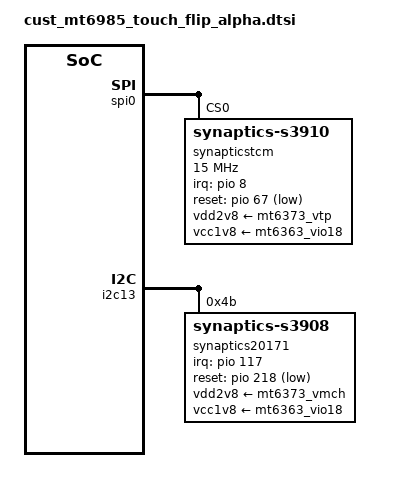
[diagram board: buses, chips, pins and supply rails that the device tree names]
// SPDX-License-Identifier: GPL-2.0
/*
 *Copyright (C) 2022 MediaTek Inc.
 */

&spi0{
	status = "okay";
	#address-cells = <1>;
	#size-cells = <0>;

	synapticstcm@0{
		compatible = "synaptics-s3910";
		reg = <0x0>;
		chip-name = "S3910";
		status = "okay";
		spi-max-frequency = <15000000>;
		/* Interrupt && Irq-gpio */
		interrupt-parent = <&pio>;
		interrupts = <8 0x2008>;

		/* Power Config */
		//enable2v8_gpio  = <&pio 164 0x1>;
		vdd2v8-supply  = <&mt6373_vtp>;
		vdd2v8-volt = <3000000>;
		vcc1v8-supply  = <&mt6363_vio18>;
		vcc1v8-volt = <1800000>;

		/* Other HW Resource */
		irq-gpio = <&pio 8 0x2008>;
		reset-gpio = <&pio 67 0x1>;

		pinctrl-names = "default",  "oplus_int_active",
		"oplus_reset_active", "oplus_int_suspend",
		"oplus_reset_suspend", "oplus_spi_active",
		"oplus_spi_suspend";
		pinctrl-0 = <&ctp_oplus_pins_default>;
		pinctrl-1 = <&ctp_oplus_int_active>;
		pinctrl-2 = <&ctp_oplus_reset_active>;
		pinctrl-3 = <&ctp_oplus_int_suspend>;
		pinctrl-4 = <&ctp_oplus_reset_suspend>;
		pinctrl-5 = <&ctp_oplus_spi_active>, <&ctp_oplus_spi_mosi_active>;
		pinctrl-6 = <&ctp_oplus_spi_suspend>;

		touchpanel,max-num-support = <10>;
		touchpanel,tx-rx-num = <17 40>;
		earsense,tx-rx-num = <17 18>;
		touchpanel,panel-coords = <10800 25200>;
		touchpanel,display-coords = <1080 2520>;
		touchpanel,touchmajor-limit = <128 216>;
		touchpanel,elimination-range = <20 200 200>;
		touchpanel,int-mode = <1>; /*0: interrupt and disable, 1:interrupt and not disable*/
		touchpanel,smooth-level = <0 1 2 5 8 9>;
		touchpanel,smooth-level-charging = <0 2 4 8 9 10>;
		touchpanel,sensitive-level = <0 70 55 40 25 10>;
		touchpanel,single-optimized-time = <8>;
		touchpanel,high-frame-rate-time = <60>;

		touchpanel,tp-index = <0>;
		vid-len = <2>;
		panel-type = <3 8>; /*type:3 BOE  type:8 SS*/
		platform-support-project = <22023 22223>;
		platform-support-project-dir = <22023 22023>;
		platform-support-project-commandline = "default_commandline","default_commandline";

		/* SW Support Feature Control */
		regulator-count-not-support;
		pressure-report-support;
		game-switch-support;
		enable-point-auto-change;
		fw-update-app-support;
		exception-upload-support;
		freq-hop-simulate-support;
		report-flow-unlock-support;
		kernel-grip-support;
		/*
		 *Virtual Key Config:
		 *1:touchpanel,button-type: <virtualkey_type  supportted_button-map>
		 *virtualkey_type:
		 *Type 1: using board_properties
		 *Type 2: using same IC (button zone&& touch zone are seprate)
		 *Type 3: using different IC (button zone&& touch zone are seprate)
		 *Type 4: No need of virtual key process
		 *supportted_button-map:select|menu|home|back
		 *
		 *2:touchpanel,button-map
		 *type (X1,Y1)(X2,Y2)(X3,Y3)(Width_X,Hight_Y)--Only when button-type is 0
		 */
		touchpanel,button-type = <4>;
		touchpanel,button-trx = <0 0>;

		S3910 {
			switch-report-rate;
			report-rate-default = <60>;
			report-rate-game-value = <0x03>;
			fps-report-rate = <60 2 90 3 120 3>;//1:360Hz 2:125Hz 3:240Hz
			fwupdate-bootloader = <1>;
			default-gesture-mask = <8191>;
			normal-config-version = <2>;
		};
	};

};

&i2c13 {
	status = "okay";
	synaptics20171@4b {
	status = "okay";
		compatible = "synaptics-s3908";
		reg = <0x4b>;
		chip-name = "S3908";

		/* Interrupt && Irq-gpio */
		interrupt-parent = <&pio>;
		interrupts = <117 0x2008>;

		/* Power Config */
		vdd2v8-supply  = <&mt6373_vmch>;
		vdd2v8-volt = <3000000>;
		vcc1v8-supply  = <&mt6363_vio18>;
		vcc1v8-volt = <1800000>;
		/* Other HW Resource */

		irq-gpio = <&pio 117 0x2008>;
		reset-gpio = <&pio 218 0x1>;
		pinctrl-names = "default";
		pinctrl-0 = <&ts_int_active2 &ts_reset_active2>;

		touchpanel,max-num-support = <10>;
		touchpanel,tx-rx-num = <9 17>;
		touchpanel,panel-coords = <382 720>;
		touchpanel,display-coords = <382 720>;
		touchpanel,touchmajor-limit = <0 54>;
		touchpanel,elimination-range = <20 200 200>;
		touchpanel,int-mode = <1>; /*0: interrupt and disable, 1:interrupt and not disable*/
		touchpanel,smooth-level = <0 1 2 3 8 10>;
		touchpanel,sensitive-level = <0 88 70 64 45 10>;

		touchpanel,tp-index = <1>;
		vid-len = <2>;
		panel-type = <3>; /*type:3 BOE*/

		platform-support-project = <22023 22223>;
		platform-support-project-dir = <22023 22023>;
		platform-support-project-commandline = "default_commandline","default_commandline";


		/* SW Support Feature Control */
		fw-update-app-support;
		game-switch-support;
		report-flow-unlock-support;
		kernel-grip-support;
		freq-hop-simulate-support;
		pressure-report-support;
		exception-upload-support;
		touchpanel,single-optimized-time = <8>;
		touchpanel,high-frame-rate-time = <60>;
		regulator-count-not-support;
		/*
		 *Virtual Key Config:
		 *1:touchpanel,button-type: <virtualkey_type  supportted_button-map>
		 *virtualkey_type:
		 *Type 1: using board_properties
		 *Type 2: using same IC (button zone&& touch zone are seprate)
		 *Type 3: using different IC (button zone&& touch zone are seprate)
		 *Type 4: No need of virtual key process
		 *supportted_button-map:select|menu|home|back
		 *
		 *2:touchpanel,button-map
		 *type (X1,Y1)(X2,Y2)(X3,Y3)(Width_X,Hight_Y)--Only when button-type is 0
		 */
		touchpanel,button-type = <4>;
		touchpanel,button-trx = <0 0>;

		S3908 {
			report-rate-default = <90>;
			report-rate-game-value = <2>;
		};
	};
};

&pio {
	ctp_oplus_pins_default: pins-default {
	};
	ctp_oplus_int_active: int1-active {
		pins-cmd-dat {
			pinmux = <PINMUX_GPIO8__FUNC_GPIO8>;
			bias-disable;
			input-enable;
		};
	};
	ctp_oplus_reset_active: reset1-active {
		pins-cmd-dat {
			pinmux = <PINMUX_GPIO67__FUNC_GPIO67>;
			output-high;
		};
	};
	ctp_oplus_int_suspend: int1-suspend {
		pins-cmd-dat {
			pinmux = <PINMUX_GPIO8__FUNC_GPIO8>;
			output-low;
		};
	};
	ctp_oplus_reset_suspend: reset1-suspend {
		pins-cmd-dat {
			pinmux = <PINMUX_GPIO67__FUNC_GPIO67>;
			output-low;
		};
	};
	ctp_oplus_spi_active: spi-active {
		pins-cmd-dat {
			pinmux = <PINMUX_GPIO151__FUNC_SPI0_CSB>,
				<PINMUX_GPIO152__FUNC_SPI0_MO>,
				<PINMUX_GPIO153__FUNC_SPI0_CLK>;
			bias-disable;
			drive-strength = <4>;
		};
	};
	ctp_oplus_spi_mosi_active: spi-mosi-active {
		pins-cmd-dat {
			pinmux = <PINMUX_GPIO150__FUNC_SPI0_MI>;
			bias-pull-up;
			drive-strength = <4>;
		};
	};
	ctp_oplus_spi_suspend: spi-suspend {
		pins-cmd-dat {
			pinmux = < PINMUX_GPIO150__FUNC_GPIO150>,
				< PINMUX_GPIO151__FUNC_GPIO151>,
				<PINMUX_GPIO152__FUNC_GPIO152>,
				< PINMUX_GPIO153__FUNC_GPIO153>;
			bias-disable;
			output-low;
			drive-strength = <4>;
		};
	};

	ts_int_active2: ts-int-active2 {
		pins-cmd-dat {
			pinmux = <PINMUX_GPIO117__FUNC_GPIO117>;
			bias-disable;
		};
	};
	ts_reset_active2: ts-reset-active2 {
		pins-cmd-dat {
			pinmux = <PINMUX_GPIO218__FUNC_GPIO218>;
			output-high;
		};
	};
	ctp_oplus_int_suspend2: int1-suspend2 {
		pins-cmd-dat {
			pinmux = <PINMUX_GPIO117__FUNC_GPIO117>;
			output-low;
		};
	};
	ctp_oplus_reset_suspend2: reset1-suspend2 {
		pins-cmd-dat {
			pinmux = <PINMUX_GPIO218__FUNC_GPIO218>;
			output-low;
		};
	};
};
